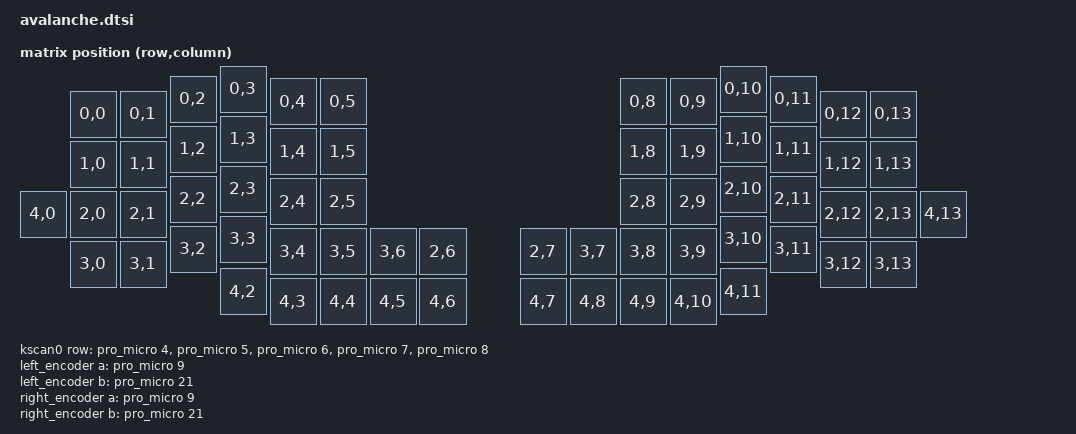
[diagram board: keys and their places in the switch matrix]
#include <dt-bindings/zmk/matrix_transform.h>
#include <physical_layouts.dtsi>

/ {
    chosen {
        zephyr,display = &oled;
        zmk,kscan = &kscan0;
        zmk,physical-layout = &avalanche_layout;
    };

    default_transform: keymap_transform_0 {
        compatible = "zmk,matrix-transform";
        columns = <14>;
        rows = <5>;
//        | SW1  | SW2  | SW3  | SW4  | SW5  | SW6  |
//        | SW7  | SW8  | SW9  | SW10 | SW11 | SW12 |
// | SW27 | SW13 | SW14 | SW15 | SW16 | SW17 | SW18 |
//        | SW20 | SW21 | SW22 | SW23 | SW24 | SW25 | SW26 | SW19 |
//                             | SW28 | SW29 | SW30 | SW31 | SW32 |
        map = <
          RC(0,0) RC(0,1) RC(0,2) RC(0,3) RC(0,4) RC(0,5)                                   RC(0,8) RC(0,9) RC(0,10) RC(0,11) RC(0,12) RC(0,13)
          RC(1,0) RC(1,1) RC(1,2) RC(1,3) RC(1,4) RC(1,5)                                   RC(1,8) RC(1,9) RC(1,10) RC(1,11) RC(1,12) RC(1,13) 
  RC(4,0) RC(2,0) RC(2,1) RC(2,2) RC(2,3) RC(2,4) RC(2,5)                                   RC(2,8) RC(2,9) RC(2,10) RC(2,11) RC(2,12) RC(2,13) RC(4,13)
          RC(3,0) RC(3,1) RC(3,2) RC(3,3) RC(3,4) RC(3,5) RC(3,6) RC(2,6)   RC(2,7) RC(3,7) RC(3,8) RC(3,9) RC(3,10) RC(3,11) RC(3,12) RC(3,13)
                                  RC(4,2) RC(4,3) RC(4,4) RC(4,5) RC(4,6)   RC(4,7) RC(4,8) RC(4,9) RC(4,10) RC(4,11)
        >;
    };

    /*
     * Physical layout, needed by ZMK Studio. Key order and positions follow
     * default_transform and config/info.json (64 keys), shifted 1 unit right so
     * no x is negative.
     */
    avalanche_layout: avalanche_layout {
        compatible = "zmk,physical-layout";
        display-name = "Avalanche";
        transform = <&default_transform>;
        kscan = <&kscan0>;

        keys  //                     w   h     x    y rot rx ry
                = <&key_physical_attrs 100 100   100   50 0 0 0>
                , <&key_physical_attrs 100 100   200   50 0 0 0>
                , <&key_physical_attrs 100 100   300   20 0 0 0>
                , <&key_physical_attrs 100 100   400    0 0 0 0>
                , <&key_physical_attrs 100 100   500   25 0 0 0>
                , <&key_physical_attrs 100 100   600   25 0 0 0>
                , <&key_physical_attrs 100 100  1200   25 0 0 0>
                , <&key_physical_attrs 100 100  1300   25 0 0 0>
                , <&key_physical_attrs 100 100  1400    0 0 0 0>
                , <&key_physical_attrs 100 100  1500   20 0 0 0>
                , <&key_physical_attrs 100 100  1600   50 0 0 0>
                , <&key_physical_attrs 100 100  1700   50 0 0 0>
                , <&key_physical_attrs 100 100   100  150 0 0 0>
                , <&key_physical_attrs 100 100   200  150 0 0 0>
                , <&key_physical_attrs 100 100   300  120 0 0 0>
                , <&key_physical_attrs 100 100   400  100 0 0 0>
                , <&key_physical_attrs 100 100   500  125 0 0 0>
                , <&key_physical_attrs 100 100   600  125 0 0 0>
                , <&key_physical_attrs 100 100  1200  125 0 0 0>
                , <&key_physical_attrs 100 100  1300  125 0 0 0>
                , <&key_physical_attrs 100 100  1400  100 0 0 0>
                , <&key_physical_attrs 100 100  1500  120 0 0 0>
                , <&key_physical_attrs 100 100  1600  150 0 0 0>
                , <&key_physical_attrs 100 100  1700  150 0 0 0>
                , <&key_physical_attrs 100 100     0  250 0 0 0>
                , <&key_physical_attrs 100 100   100  250 0 0 0>
                , <&key_physical_attrs 100 100   200  250 0 0 0>
                , <&key_physical_attrs 100 100   300  220 0 0 0>
                , <&key_physical_attrs 100 100   400  200 0 0 0>
                , <&key_physical_attrs 100 100   500  225 0 0 0>
                , <&key_physical_attrs 100 100   600  225 0 0 0>
                , <&key_physical_attrs 100 100  1200  225 0 0 0>
                , <&key_physical_attrs 100 100  1300  225 0 0 0>
                , <&key_physical_attrs 100 100  1400  200 0 0 0>
                , <&key_physical_attrs 100 100  1500  220 0 0 0>
                , <&key_physical_attrs 100 100  1600  250 0 0 0>
                , <&key_physical_attrs 100 100  1700  250 0 0 0>
                , <&key_physical_attrs 100 100  1800  250 0 0 0>
                , <&key_physical_attrs 100 100   100  350 0 0 0>
                , <&key_physical_attrs 100 100   200  350 0 0 0>
                , <&key_physical_attrs 100 100   300  320 0 0 0>
                , <&key_physical_attrs 100 100   400  300 0 0 0>
                , <&key_physical_attrs 100 100   500  325 0 0 0>
                , <&key_physical_attrs 100 100   600  325 0 0 0>
                , <&key_physical_attrs 100 100   700  325 0 0 0>
                , <&key_physical_attrs 100 100   800  325 0 0 0>
                , <&key_physical_attrs 100 100  1000  325 0 0 0>
                , <&key_physical_attrs 100 100  1100  325 0 0 0>
                , <&key_physical_attrs 100 100  1200  325 0 0 0>
                , <&key_physical_attrs 100 100  1300  325 0 0 0>
                , <&key_physical_attrs 100 100  1400  300 0 0 0>
                , <&key_physical_attrs 100 100  1500  320 0 0 0>
                , <&key_physical_attrs 100 100  1600  350 0 0 0>
                , <&key_physical_attrs 100 100  1700  350 0 0 0>
                , <&key_physical_attrs 100 100   400  405 0 0 0>
                , <&key_physical_attrs 100 100   500  425 0 0 0>
                , <&key_physical_attrs 100 100   600  425 0 0 0>
                , <&key_physical_attrs 100 100   700  425 0 0 0>
                , <&key_physical_attrs 100 100   800  425 0 0 0>
                , <&key_physical_attrs 100 100  1000  425 0 0 0>
                , <&key_physical_attrs 100 100  1100  425 0 0 0>
                , <&key_physical_attrs 100 100  1200  425 0 0 0>
                , <&key_physical_attrs 100 100  1300  425 0 0 0>
                , <&key_physical_attrs 100 100  1400  405 0 0 0>
                ;
    };

    kscan0: kscan {
        compatible = "zmk,kscan-gpio-matrix";
        label = "KSCAN";

        diode-direction = "col2row";
        // #define MATRIX_ROW_PINS { D4, C6, D7, E6, B4 }
        row-gpios
            = <&pro_micro 4 (GPIO_ACTIVE_HIGH | GPIO_PULL_DOWN)>
            , <&pro_micro 5 (GPIO_ACTIVE_HIGH | GPIO_PULL_DOWN)> 
            , <&pro_micro 6 (GPIO_ACTIVE_HIGH | GPIO_PULL_DOWN)>
            , <&pro_micro 7 (GPIO_ACTIVE_HIGH | GPIO_PULL_DOWN)>
            , <&pro_micro 8 (GPIO_ACTIVE_HIGH | GPIO_PULL_DOWN)>
            ;

    };

    left_encoder: encoder_left {
        compatible = "alps,ec11";
        label = "LEFT_ENCODER";
        a-gpios = <&pro_micro 9 (GPIO_ACTIVE_HIGH | GPIO_PULL_UP)>;
        b-gpios = <&pro_micro 21 (GPIO_ACTIVE_HIGH | GPIO_PULL_UP)>;
        resolution = <4>;
        status = "disabled";
    };

    right_encoder: encoder_right {
        compatible = "alps,ec11";
        label = "RIGHT_ENCODER";
        a-gpios = <&pro_micro 9 (GPIO_ACTIVE_HIGH | GPIO_PULL_UP)>;
        b-gpios = <&pro_micro 21 (GPIO_ACTIVE_HIGH | GPIO_PULL_UP)>;
        resolution = <4>;
        status = "disabled";
    };

    sensors {
        compatible = "zmk,keymap-sensors";
        sensors = <&left_encoder &right_encoder>;
    };
};

&pro_micro_i2c {
    status = "okay";

    oled: ssd1306@3c {
        compatible = "solomon,ssd1306fb";
        reg = <0x3c>;
        label = "DISPLAY";
        width = <128>;
        height = <64>;
        segment-offset = <0>;
        page-offset = <0>;
        display-offset = <0>;
        multiplex-ratio = <31>;
        segment-remap;
        com-invdir;
        com-sequential;
        prechargep = <0x22>;
    };
};
